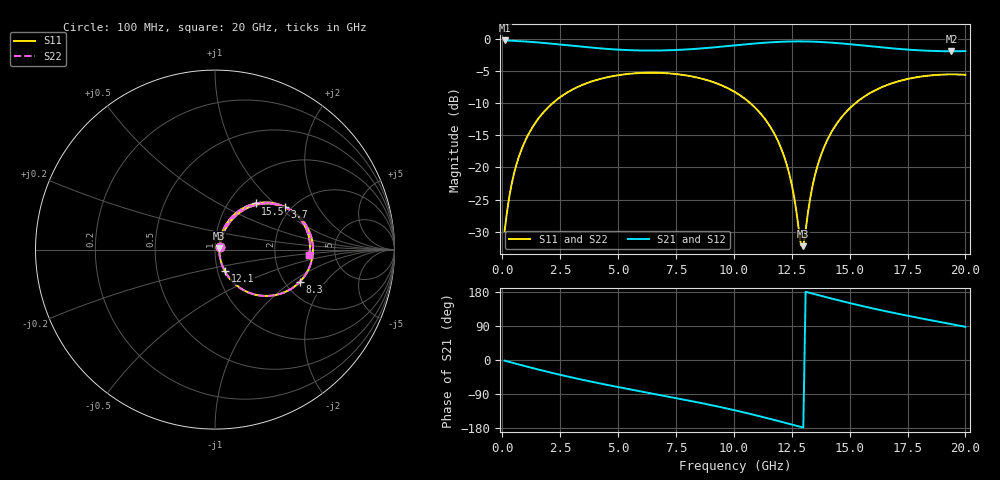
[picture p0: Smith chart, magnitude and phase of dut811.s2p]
! Touchstone file exported from HFSS 2026.1.0
!  File:  C:/ffzhzh/LocalFiles/Ansys_Project_Files/temp_train_TSV_RDL_811_1783264121_39728.aedt
!  Generated:  11:20:42 PM Jul  5, 2026
!  Design:  TSV_RDL
!  Project:  temp_train_TSV_RDL_811_1783264121_39728
! Variables:
!  h_bsmrdl = 2.04um
!  h_ox = 20um
!  h_rdl = 5um
!  h_sub = 99.01um
!  h_tmrdl = 2.99um
!  h_tsv = 99.01um
!  h_via = 3um
!  l_bsmrdl = 933.48um
!  l_sub = 4423.13um
!  l_tmrdl = 265.72um
!  m_sub = 200um
!  pitch = 56.54um
!  r_tsv = 4.02um
!  s_tmrdl = 10um
!  w_bsmrdl = 29.66um
!  w_sub = 500um
!  w_tmrdl = 23.61um
!  x_tsv_center1 = 277.525um
!  x_tsv_center2 = 1240.665um
!  x_tsv_center3 = 1529.995um
!  x_tsv_center4 = 2493.135um
!  x_tsv_center5 = 2782.465um
!  x_tsv_center6 = 3745.605um
# GHz S MA R 50.000000
! Terminal data exported
! Port[1] = TM_RDL1_1_T1
! Port[2] = TM_RDL5_1_T1
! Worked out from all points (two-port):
!   200 points, 100 MHz to 20 GHz, reference 50 ohm
!   highest |S21| = -0.24 dB at 100 MHz (marker M1); lowest = -1.9 dB at 19.4 GHz (marker M2)
!   |S21| within 3 dB of the highest: start of sweep to end of sweep
!   lowest |S11| = -32.3 dB at 13 GHz (marker M3), VSWR 1.05, Z = 52.4 + j0.738 ohm
!   |S11| at or under -10 dB: start of sweep to 2.175 GHz; 10.71 GHz to 15.25 GHz (4.54 GHz wide, 35 % of centre)
!   |S22| runs from -32.3 to -5.3 dB; largest |S21 - S12| = 1.7e-14
!   S11 on the Smith chart (normalised r, x): 100 MHz: 1.06, +0.04; 3.7 GHz: 1.85, +1.10; 8.3 GHz: 2.41, -1.16; 12.1 GHz: 1.08, -0.27; 15.5 GHz: 1.33, +0.77; 20 GHz: 3.20, -0.25
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0.1  0.03199 31.6  0.9731 -1.7  0.9731 -1.7  0.03199 31.6
! Gamma 0 0 0 0
! Port Impedance 50 0 50 0
0.5  0.0889 61.7  0.9663 -8.4  0.9663 -8.4  0.0889 61.7
1.1  0.1768 61.4  0.9523 -18.0  0.9523 -18.0  0.1768 61.4
2.1  0.3076 50.7  0.9195 -33.3  0.9195 -33.3  0.3076 50.7
3.5  0.4419 33.5  0.867 -52.7  0.867 -52.7  0.4419 33.5
3.7  0.4562 31.1  0.8602 -55.3  0.8602 -55.3  0.4562 31.1
5.3  0.5309 12.7  0.8203 -74.9  0.8203 -74.9  0.5309 12.7
6.8  0.5445 -3.8  0.8129 -92.2  0.8129 -92.2  0.5445 -3.8
8.3  0.506 -20.7  0.8358 -110.0  0.8358 -110.0  0.506 -20.7
10.1  0.3809 -42.7  0.8932 -133.5  0.8932 -133.5  0.3809 -42.7
11.3  0.2438 -57.9  0.9335 -151.2  0.9335 -151.2  0.2438 -58.0
12.1  0.1322 -65.6  0.9514 -163.8  0.9514 -163.8  0.1322 -65.6
12.5  0.07366 -63.5  0.9559 -170.3  0.9559 -170.3  0.07361 -63.6
12.9  0.02481 -18.1  0.9567 -176.8  0.9567 -176.8  0.02475 -18.1
13  0.02438 16.8  0.9564 -178.4  0.9564 -178.4  0.02434 16.9
13.4  0.07208 64.9  0.9528 175.1  0.9528 175.1  0.0721 64.9
13.7  0.1155 67.4  0.9479 170.3  0.9479 170.3  0.1155 67.4
14.2  0.1861 64.2  0.9361 162.4  0.9361 162.4  0.1861 64.2
15.5  0.3426 48.7  0.8918 143.1  0.8918 143.1  0.3426 48.7
16.7  0.4434 33.9  0.849 126.9  0.849 126.9  0.4434 33.9
19.4  0.5298 3.5  0.8019 94.5  0.8019 94.5  0.5299 3.5
20  0.526 -3.1  0.804 87.6  0.804 87.6  0.5261 -3.1
